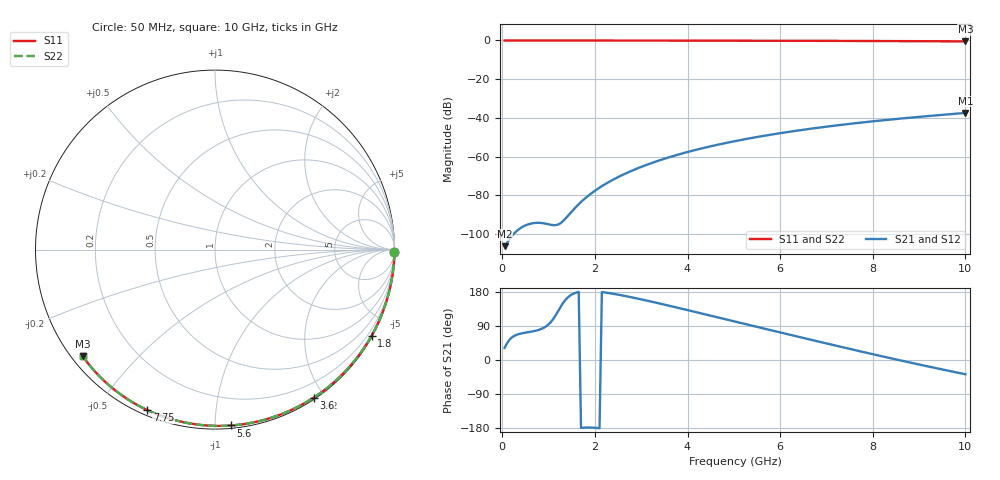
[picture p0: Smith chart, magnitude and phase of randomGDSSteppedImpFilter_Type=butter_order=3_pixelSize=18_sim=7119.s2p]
! freq	dB(S11)	phase(S11)	dB(S12)	phase(S12)
!  dB(S21)	phase(S21)	dB(S22)	phase(S22)
!S-par simulation data
#  GHz  S  DB  R 50
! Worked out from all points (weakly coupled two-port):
!   200 points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, 50 MHz to 10 GHz, reference 50 ohm
!   highest |S21| = -37.44 dB at 10 GHz (marker M1); lowest = -106.3 dB at 50 MHz (marker M2)
!   lowest |S11| = -0.5 dB at 10 GHz (marker M3), VSWR 36.44, Z = 1.54 - j17.6 ohm
!   |S11| at or under -10 dB: nowhere
!   |S22| runs from -0.5 to 0.0 dB; largest |S21 - S12| = 0
!   S11 on the Smith chart (normalised r, x): 50 MHz: open; 1.8 GHz: 0.03, -3.88; 3.6 GHz: 0.02, -1.87; 5.6 GHz: 0.02, -1.10; 7.75 GHz: 0.02, -0.66; 10 GHz: 0.03, -0.35
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0.05  -0.00 -0.8  -106.31 32.0  -106.31 32.0  -0.00 -0.8
0.9  -0.02 -14.6  -94.50 85.3  -94.50 85.3  -0.02 -14.6
1.75  -0.04 -28.1  -82.39 -178.7  -82.39 -178.7  -0.04 -28.1
1.8  -0.04 -28.9  -81.35 -178.3  -81.35 -178.3  -0.04 -28.9
1.85  -0.04 -29.7  -80.37 -178.1  -80.37 -178.1  -0.04 -29.7
1.9  -0.04 -30.4  -79.44 -178.2  -79.44 -178.2  -0.04 -30.4
2.05  -0.04 -32.8  -76.85 -179.4  -76.85 -179.4  -0.04 -32.8
2.25  -0.05 -35.9  -73.84 177.6  -73.84 177.6  -0.05 -35.9
2.45  -0.05 -39.0  -71.21 173.6  -71.21 173.6  -0.05 -39.0
2.65  -0.05 -42.1  -68.88 169.0  -68.88 169.0  -0.05 -42.1
3  -0.06 -47.4  -65.33 160.0  -65.33 160.0  -0.06 -47.4
3.4  -0.07 -53.4  -61.90 149.0  -61.90 149.0  -0.07 -53.4
3.6  -0.08 -56.4  -60.38 143.3  -60.38 143.3  -0.08 -56.4
4.3  -0.09 -66.6  -55.82 122.9  -55.82 122.9  -0.09 -66.6
5.05  -0.12 -77.2  -51.91 100.7  -51.91 100.7  -0.12 -77.1
5.6  -0.14 -84.7  -49.49 84.5  -49.49 84.5  -0.14 -84.7
6.15  -0.16 -92.1  -47.37 68.4  -47.37 68.4  -0.16 -92.1
6.7  -0.19 -99.4  -45.48 52.3  -45.48 52.3  -0.19 -99.3
7.75  -0.26 -112.8  -42.43 22.3  -42.43 22.3  -0.26 -112.8
8.35  -0.31 -120.4  -40.95 5.6  -40.95 5.6  -0.31 -120.4
9.15  -0.38 -130.4  -39.17 -15.9  -39.17 -15.9  -0.38 -130.4
10  -0.48 -141.2  -37.44 -37.6  -37.44 -37.6  -0.48 -141.2
